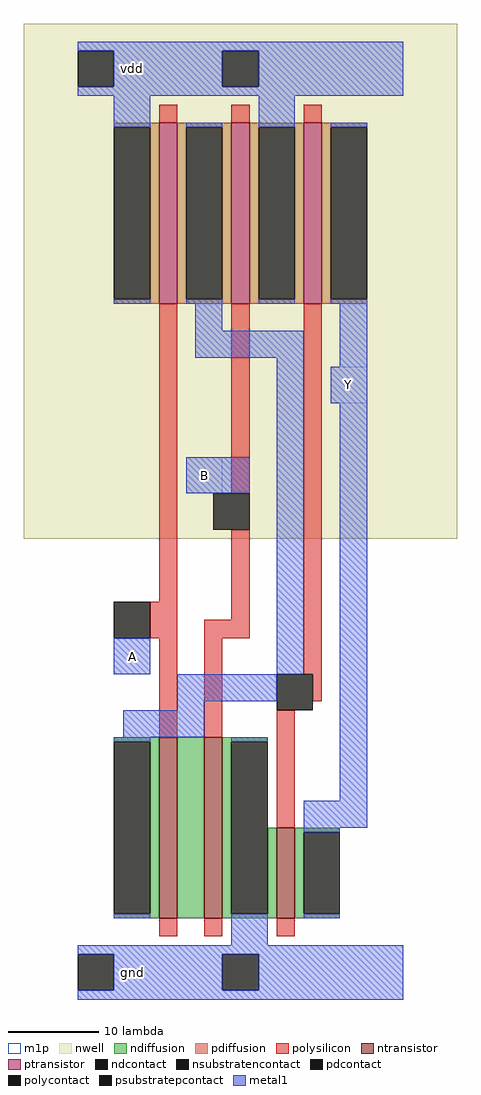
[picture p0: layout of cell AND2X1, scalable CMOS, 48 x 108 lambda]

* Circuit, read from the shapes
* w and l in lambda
.subckt AND2X1 A B Y vdd gnd
M1 n1 A n2 gnd nfet w=20 l=2
M2 gnd B n1 gnd nfet w=20 l=2
M3 Y n2 gnd gnd nfet w=10 l=2
M4 n2 A vdd vdd pfet w=20 l=2
M5 vdd B n2 vdd pfet w=20 l=2
M6 Y n2 vdd vdd pfet w=20 l=2
.ends

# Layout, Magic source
magic
tech scmos
magscale 1 2
<< nwell >>
rect -16 96 80 210
<< ntransistor >>
rect 14 12 18 52
rect 24 12 28 52
rect 40 12 44 32
<< ptransistor >>
rect 14 148 18 188
rect 30 148 34 188
rect 46 148 50 188
<< ndiffusion >>
rect 4 51 14 52
rect 12 13 14 51
rect 4 12 14 13
rect 18 12 24 52
rect 28 51 38 52
rect 28 13 30 51
rect 38 13 40 32
rect 28 12 40 13
rect 44 31 54 32
rect 44 13 46 31
rect 44 12 54 13
<< pdiffusion >>
rect 4 187 14 188
rect 12 149 14 187
rect 4 148 14 149
rect 18 187 30 188
rect 18 149 20 187
rect 28 149 30 187
rect 18 148 30 149
rect 34 187 46 188
rect 34 149 36 187
rect 44 149 46 187
rect 34 148 46 149
rect 50 187 60 188
rect 50 149 52 187
rect 50 148 60 149
<< ndcontact >>
rect 4 13 12 51
rect 30 13 38 51
rect 46 13 54 31
<< pdcontact >>
rect 4 149 12 187
rect 20 149 28 187
rect 36 149 44 187
rect 52 149 60 187
<< psubstratepcontact >>
rect -4 -4 4 4
rect 28 -4 36 4
<< nsubstratencontact >>
rect -4 196 4 204
rect 28 196 36 204
<< polysilicon >>
rect 14 188 18 192
rect 30 188 34 192
rect 46 188 50 192
rect 14 82 18 148
rect 30 106 34 148
rect 12 74 18 82
rect 30 78 34 98
rect 14 52 18 74
rect 24 74 34 78
rect 24 52 28 74
rect 46 66 50 148
rect 48 60 50 66
rect 40 32 44 58
rect 14 8 18 12
rect 24 8 28 12
rect 40 8 44 12
<< polycontact >>
rect 26 98 34 106
rect 4 74 12 82
rect 40 58 48 66
<< metal1 >>
rect -4 204 68 206
rect 4 196 28 204
rect 36 196 68 204
rect -4 194 68 196
rect 4 187 12 194
rect 4 148 12 149
rect 20 187 28 188
rect 20 148 28 149
rect 36 187 44 194
rect 36 148 44 149
rect 52 187 60 188
rect 52 148 60 149
rect 22 142 28 148
rect 22 136 46 142
rect 20 106 34 114
rect 4 66 12 74
rect 40 66 46 136
rect 54 134 60 148
rect 52 126 60 134
rect 18 60 40 66
rect 18 58 24 60
rect 6 52 24 58
rect 4 51 12 52
rect 4 12 12 13
rect 30 51 38 52
rect 54 38 60 126
rect 30 6 38 13
rect 46 32 60 38
rect 46 31 54 32
rect 46 12 54 13
rect -4 4 68 6
rect 4 -4 28 4
rect 36 -4 68 4
rect -4 -6 68 -4
<< m1p >>
rect 52 126 60 134
rect 20 106 28 114
rect 4 66 12 74
<< labels >>
rlabel metal1 56 130 56 130 4 Y
port 3 se
rlabel metal1 24 110 24 110 4 B
port 2 se
rlabel metal1 8 200 8 200 4 vdd
port 4 se
rlabel metal1 8 0 8 0 4 gnd
port 5 se
rlabel metal1 8 70 8 70 4 A
port 1 se
<< end >>
